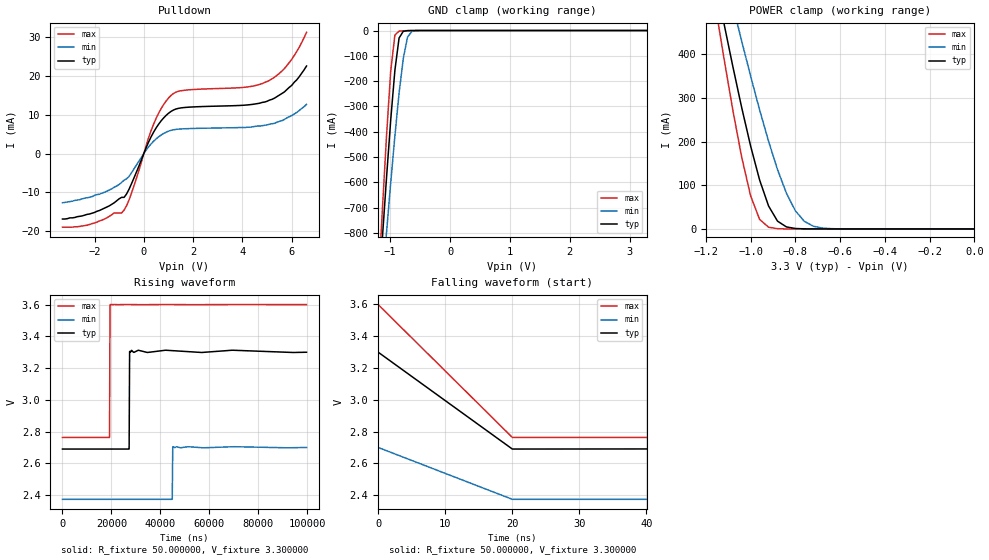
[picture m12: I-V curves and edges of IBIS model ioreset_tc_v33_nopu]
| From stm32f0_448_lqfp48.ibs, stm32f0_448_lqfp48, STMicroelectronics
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|   Model ioreset_tc_v33_nopu
[Model]  ioreset_tc_v33_nopu
Model_type I/O_open_drain
Polarity   Inverting
Enable   Active-High
Vinl =   0.990000V
Vinh =   2.310000V
Vmeas =  1.650000V
Cref =   1.0000000000000001E-7F
Rref =   1.000000k
Vref =   3.300000V
C_comp   0.983670pF   0.932330pF   1.052400pF
[Temperature Range]   25.000000   0.125000k   -40.000000
[Pullup Reference]   3.300000V   2.700000V   3.600000V
[Pulldown Reference]   0.0V   0.0V   0.0V
[POWER Clamp Reference]   3.300000V   2.700000V   3.600000V
[GND Clamp Reference]   0.0V   0.0V   0.0V
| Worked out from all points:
|   slope of the pulldown table from 0 to 0.495 V, typ, clamps not added: 75.3 ohm
|   GND clamp passes 1 mA (typ) near -0.72 V on its own axis
|   POWER clamp passes 1 mA (typ) near -0.80 V on its own axis
|   rising waveform, R_fixture 50.000000, V_fixture 3.300000: 20-80 % time 119ns typ, 119ns min, 120ns max; typ from 2.69 V to 3.3 V
|   falling waveform, R_fixture 50.000000, V_fixture 3.300000: 20-80 % time 12ns typ, 12ns min, 12ns max; typ from 3.3 V to 2.69 V
[Pulldown]
|Voltage   I(typ)   I(min)   I(max)
-3.3V     -16.9mA    -12.7mA    -19mA
-1.8V     -14.7mA    -10.5mA    -17.4mA
-800mV    -11.31mA   -6.86mA    -14.57mA
-500mV    -7.789mA   -4.969mA   -10.19mA
400mV     5.567mA    3.207mA    7.636mA
800mV     9.174mA    5.171mA    12.62mA
1.2V      11.24mA    6.137mA    15.5mA
4.2V      12.55mA    6.8mA      17.2mA
5V        13.5mA     7.4mA      18.6mA
5.7V      15.9mA     8.8mA      21.9mA
6.2V      19mA       10.6mA     26.3mA
6.6V      22.6mA     12.7mA     31.3mA
[GND_clamp]
|Voltage   I(typ)   I(min)   I(max)
-3.3V     -9.104A    -7.777A    -9.724A
-1.2V     -1.076A    -1.208A    -1.024A
-1.13V    -825.8mA   -1.002A    -713.7mA
-1.06V    -583.4mA   -799.8mA   -418.8mA
-990mV    -355.1mA   -603.5mA   -161.7mA
-920mV    -157.4mA   -417mA     -18.13mA
-850mV    -29.69mA   -247.7mA   -2.329mA
-780mV    -3.137mA   -111.1mA   -1.063mA
-710mV    -585.1uA   -26.85mA   -494.2uA
-640mV    -162uA     -4.074mA   -154.9uA
-500mV    -3.792uA   -82.2uA    -1.945uA
3.28V     0A         0A         0A
[POWER_clamp]
|Voltage   I(typ)   I(min)   I(max)
-3.28V    6.625A     5.702A     8.109A
-1.16V    574.4mA    684.1mA    518.4mA
-1.12V    471.9mA    597.6mA    392.3mA
-1.08V    372.4mA    512.6mA    272.6mA
-1.04V    277.4mA    429.7mA    163.9mA
-1V       189.2mA    349.3mA    75.44mA
-960mV    111.9mA    272.5mA    21.88mA
-880mV    17.91mA    135.9mA    598.3uA
-800mV    1.058mA    41.4mA     18.57uA
-760mV    236.1uA    17.42mA    7.299uA
-640mV    5.231uA    683.9uA    3.044uA
0V        0A         0A         0A
[Ramp]
| variable   typ   min   max
dV/dt_r  0.37020/60.41123n   0.19806/60.73597n   0.50196/60.00000n
dV/dt_f  0.36636/60.12802n   0.19602/60.00000n   0.50256/60.01433n
R_load = 50.000000
[Rising Waveform]
R_fixture= 50.000000
V_fixture= 3.300000
V_fixture_min= 2.700000
V_fixture_max= 3.600000
|time   V(typ)   V(min)   V(max)
0s        2.69V      2.373V     2.763V
19.22us   2.69V      2.373V     2.763V
19.42us   2.69V      2.373V     3.6V
27.23us   2.69V      2.373V     3.6V
27.43us   3.305V     2.373V     3.6V
28.23us   3.312V     2.373V     3.6V
34.63us   3.299V     2.373V     3.6V
44.84us   3.31V      2.373V     3.6V
45.05us   3.31V      2.704V     3.6V
99.7us    3.3V       2.7V       3.6V
[Falling Waveform]
R_fixture= 50.000000
V_fixture= 3.300000
V_fixture_min= 2.700000
V_fixture_max= 3.600000
|time   V(typ)   V(min)   V(max)
0s        3.3V       2.7V       3.6V
20.02ns   2.69V      2.373V     2.763V
380.4ns   2.691V     2.373V     2.763V
9.97us    2.69V      2.373V     2.763V
